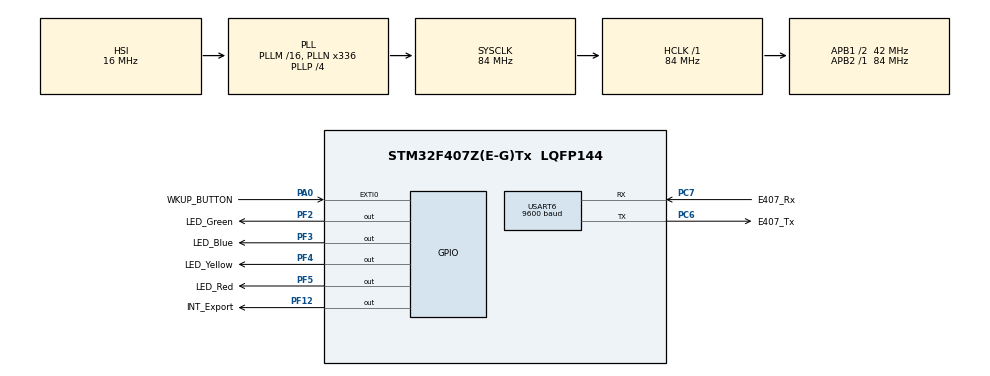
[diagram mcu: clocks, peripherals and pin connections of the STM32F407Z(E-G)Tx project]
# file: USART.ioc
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Mcu.Family=STM32F4
Mcu.Name=STM32F407Z(E-G)Tx
Mcu.Package=LQFP144
NVIC.EXTI0_IRQn=true\:1\:0\:true\:false\:true\:true
NVIC.PriorityGroup=NVIC_PRIORITYGROUP_4
NVIC.USART6_IRQn=true\:0\:0\:false\:false\:true\:true
PA0-WKUP.GPIO_Label=WKUP_BUTTON
PA0-WKUP.GPIO_PuPd=GPIO_PULLDOWN
PA0-WKUP.Signal=GPXTI0
PC6.GPIO_Label=E407_Tx
PC6.Mode=Asynchronous
PC6.Signal=USART6_TX
PC7.GPIO_Label=E407_Rx
PC7.Mode=Asynchronous
PC7.Signal=USART6_RX
PF12.GPIO_Label=INT_Export
PF12.GPIO_PuPd=GPIO_PULLDOWN
PF12.Signal=GPIO_Output
PF2.GPIO_Label=LED_Green
PF2.GPIO_PuPd=GPIO_PULLDOWN
PF2.Signal=GPIO_Output
PF3.GPIO_Label=LED_Blue
PF3.GPIO_PuPd=GPIO_PULLDOWN
PF3.Signal=GPIO_Output
PF4.GPIO_Label=LED_Yellow
PF4.GPIO_PuPd=GPIO_PULLDOWN
PF4.Signal=GPIO_Output
PF5.GPIO_Label=LED_Red
PF5.GPIO_PuPd=GPIO_PULLDOWN
PF5.Signal=GPIO_Output
ProjectManager.HeapSize=0x200
ProjectManager.StackSize=0x400
ProjectManager.TargetToolchain=Makefile
RCC.48MHZClocksFreq_Value=84000000
RCC.AHBFreq_Value=84000000
RCC.APB1CLKDivider=RCC_HCLK_DIV2
RCC.APB1Freq_Value=42000000
RCC.APB1TimFreq_Value=84000000
RCC.APB2Freq_Value=84000000
RCC.APB2TimFreq_Value=84000000
RCC.CortexFreq_Value=84000000
RCC.HCLKFreq_Value=84000000
RCC.HSE_VALUE=25000000
RCC.HSI_VALUE=16000000
RCC.LSE_VALUE=32768
RCC.PLLN=336
RCC.PLLP=RCC_PLLP_DIV4
RCC.SYSCLKFreq_VALUE=84000000
RCC.SYSCLKSource=RCC_SYSCLKSOURCE_PLLCLK
RCC.VCOOutputFreq_Value=336000000
USART6.BaudRate=9600
USART6.VirtualMode=VM_ASYNC
board=USART

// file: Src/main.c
/**
  ******************************************************************************
  * File Name          : main.c
  * Description        : Main program body
  ******************************************************************************
  ** This notice applies to any and all portions of this file
  * that are not between comment pairs USER CODE BEGIN and
  * USER CODE END. Other portions of this file, whether
  * inserted by the user or by software development tools
  * are owned by their respective copyright owners.
  *
  * COPYRIGHT(c) 2017 STMicroelectronics
  *
  * Redistribution and use in source and binary forms, with or without modification,
  * are permitted provided that the following conditions are met:
  *   1. Redistributions of source code must retain the above copyright notice,
  *      this list of conditions and the following disclaimer.
  *   2. Redistributions in binary form must reproduce the above copyright notice,
  *      this list of conditions and the following disclaimer in the documentation
  *      and/or other materials provided with the distribution.
  *   3. Neither the name of STMicroelectronics nor the names of its contributors
  *      may be used to endorse or promote products derived from this software
  *      without specific prior written permission.
  *
  * THIS SOFTWARE IS PROVIDED BY THE COPYRIGHT HOLDERS AND CONTRIBUTORS "AS IS"
  * AND ANY EXPRESS OR IMPLIED WARRANTIES, INCLUDING, BUT NOT LIMITED TO, THE
  * IMPLIED WARRANTIES OF MERCHANTABILITY AND FITNESS FOR A PARTICULAR PURPOSE ARE
  * DISCLAIMED. IN NO EVENT SHALL THE COPYRIGHT HOLDER OR CONTRIBUTORS BE LIABLE
  * FOR ANY DIRECT, INDIRECT, INCIDENTAL, SPECIAL, EXEMPLARY, OR CONSEQUENTIAL
  * DAMAGES (INCLUDING, BUT NOT LIMITED TO, PROCUREMENT OF SUBSTITUTE GOODS OR
  * SERVICES; LOSS OF USE, DATA, OR PROFITS; OR BUSINESS INTERRUPTION) HOWEVER
  * CAUSED AND ON ANY THEORY OF LIABILITY, WHETHER IN CONTRACT, STRICT LIABILITY,
  * OR TORT (INCLUDING NEGLIGENCE OR OTHERWISE) ARISING IN ANY WAY OUT OF THE USE
  * OF THIS SOFTWARE, EVEN IF ADVISED OF THE POSSIBILITY OF SUCH DAMAGE.
  *
  ******************************************************************************
  */

#include "main.h"
#include "stm32f4xx_hal.h"

UART_HandleTypeDef huart6;

/* USER CODE BEGIN PV */
/* Private variables ---------------------------------------------------------*/
__IO uint32_t Interrupt_Variable = 0;
__IO ITStatus UartReady = RESET;

/* Buffer used for transmission */
/* uint8_t aTxBuffer[] = " ****UART_TwoBoards communication based on DMA****  ****UART_TwoBoards communication based on DMA****  ****UART_TwoBoards communication based on DMA**** "; */

uint8_t aTxBuffer[] = "R";
/* Buffer used for reception */
uint8_t aRxBuffer[RXBUFFERSIZE];
/* USER CODE END PV */

void SystemClock_Config(void);
static void MX_GPIO_Init(void);
static void MX_USART6_UART_Init(void);

/* USER CODE BEGIN PFP */
/* Private function prototypes -----------------------------------------------*/
/* static uint16_t Buffercmp(uint8_t* pBuffer1, uint8_t* pBuffer2, uint16_t BufferLength); */
/* USER CODE END PFP */

int main(void)
{

  /* MCU Configuration----------------------------------------------------------*/

  /* Reset of all peripherals, Initializes the Flash interface and the Systick. */
  HAL_Init();

  /* Configure the system clock */
  SystemClock_Config();

  /* Initialize all configured peripherals */
  MX_GPIO_Init();
  MX_USART6_UART_Init();

  /* USER CODE BEGIN 2 */
/* #ifdef TRANSMITTER_BOARD */

  while (HAL_GPIO_ReadPin(WKUP_BUTTON_GPIO_Port, WKUP_BUTTON_Pin) == GPIO_PIN_RESET)
    {
      HAL_GPIO_TogglePin(LED_Blue_GPIO_Port, LED_Blue_Pin);
      HAL_Delay(250);
    }
  /* Wait for the button to be pressed that is for interrupt */
  while (Interrupt_Variable == 0)
    {
    }
  /* Turn off LED_Blue */
  HAL_GPIO_WritePin(LED_Blue_GPIO_Port, LED_Blue_Pin, GPIO_PIN_RESET);

  /* The board sends the message now */
  if(HAL_UART_Transmit_DMA(&huart6, (uint8_t*)aTxBuffer, TXBUFFERSIZE) != HAL_OK)
    {
      _Error_Handler(__FILE__,__LINE__);
    }

  /* Wait for the end of the transfer */
  while (UartReady != SET)
    {
    }

  /* Reset transmission flag */
  UartReady = RESET;

/* #endif */ // TRANSMITTER_BOARD

  /* USER CODE END 2 */

  /* Infinite loop */
  while (1)
  {

  }

}

/** System Clock Configuration
*/
void SystemClock_Config(void)
{

  RCC_OscInitTypeDef RCC_OscInitStruct;
  RCC_ClkInitTypeDef RCC_ClkInitStruct;

    /**Configure the main internal regulator output voltage
    */
  __HAL_RCC_PWR_CLK_ENABLE();

  __HAL_PWR_VOLTAGESCALING_CONFIG(PWR_REGULATOR_VOLTAGE_SCALE1);

    /**Initializes the CPU, AHB and APB busses clocks
    */
  RCC_OscInitStruct.OscillatorType = RCC_OSCILLATORTYPE_HSI;
  RCC_OscInitStruct.HSIState = RCC_HSI_ON;
  RCC_OscInitStruct.HSICalibrationValue = 16;
  RCC_OscInitStruct.PLL.PLLState = RCC_PLL_ON;
  RCC_OscInitStruct.PLL.PLLSource = RCC_PLLSOURCE_HSI;
  RCC_OscInitStruct.PLL.PLLM = 16;
  RCC_OscInitStruct.PLL.PLLN = 336;
  RCC_OscInitStruct.PLL.PLLP = RCC_PLLP_DIV4;
  RCC_OscInitStruct.PLL.PLLQ = 4;
  if (HAL_RCC_OscConfig(&RCC_OscInitStruct) != HAL_OK)
  {
    _Error_Handler(__FILE__, __LINE__);
  }

    /**Initializes the CPU, AHB and APB busses clocks
    */
  RCC_ClkInitStruct.ClockType = RCC_CLOCKTYPE_HCLK|RCC_CLOCKTYPE_SYSCLK
                              |RCC_CLOCKTYPE_PCLK1|RCC_CLOCKTYPE_PCLK2;
  RCC_ClkInitStruct.SYSCLKSource = RCC_SYSCLKSOURCE_PLLCLK;
  RCC_ClkInitStruct.AHBCLKDivider = RCC_SYSCLK_DIV1;
  RCC_ClkInitStruct.APB1CLKDivider = RCC_HCLK_DIV2;
  RCC_ClkInitStruct.APB2CLKDivider = RCC_HCLK_DIV1;

  if (HAL_RCC_ClockConfig(&RCC_ClkInitStruct, FLASH_LATENCY_2) != HAL_OK)
  {
    _Error_Handler(__FILE__, __LINE__);
  }

    /**Configure the Systick interrupt time
    */
  HAL_SYSTICK_Config(HAL_RCC_GetHCLKFreq()/1000);

    /**Configure the Systick
    */
  HAL_SYSTICK_CLKSourceConfig(SYSTICK_CLKSOURCE_HCLK);

  /* SysTick_IRQn interrupt configuration */
  HAL_NVIC_SetPriority(SysTick_IRQn, 0, 0);
}

/* USART6 init function */
static void MX_USART6_UART_Init(void)
{

  huart6.Instance = USART6;
  huart6.Init.BaudRate = 9600;
  huart6.Init.WordLength = UART_WORDLENGTH_8B;
  huart6.Init.StopBits = UART_STOPBITS_1;
  huart6.Init.Parity = UART_PARITY_NONE;
  huart6.Init.Mode = UART_MODE_TX_RX;
  huart6.Init.HwFlowCtl = UART_HWCONTROL_NONE;
  huart6.Init.OverSampling = UART_OVERSAMPLING_16;
  if (HAL_UART_Init(&huart6) != HAL_OK)
  {
    _Error_Handler(__FILE__, __LINE__);
  }

}

/** Configure pins as
        * Analog
        * Input
        * Output
        * EVENT_OUT
        * EXTI
*/
static void MX_GPIO_Init(void)
{

  GPIO_InitTypeDef GPIO_InitStruct;

  /* GPIO Ports Clock Enable */
  __HAL_RCC_GPIOF_CLK_ENABLE();
  __HAL_RCC_GPIOA_CLK_ENABLE();
  __HAL_RCC_GPIOC_CLK_ENABLE();

  /*Configure GPIO pin Output Level */
  HAL_GPIO_WritePin(GPIOF, LED_Green_Pin|LED_Blue_Pin|LED_Yellow_Pin|LED_Red_Pin
                          |INT_Export_Pin, GPIO_PIN_RESET);

  /*Configure GPIO pins : LED_Green_Pin LED_Blue_Pin LED_Yellow_Pin LED_Red_Pin
                           INT_Export_Pin */
  GPIO_InitStruct.Pin = LED_Green_Pin|LED_Blue_Pin|LED_Yellow_Pin|LED_Red_Pin
                          |INT_Export_Pin;
  GPIO_InitStruct.Mode = GPIO_MODE_OUTPUT_PP;
  GPIO_InitStruct.Pull = GPIO_PULLDOWN;
  GPIO_InitStruct.Speed = GPIO_SPEED_FREQ_LOW;
  HAL_GPIO_Init(GPIOF, &GPIO_InitStruct);

  /*Configure GPIO pin : WKUP_BUTTON_Pin */
  GPIO_InitStruct.Pin = WKUP_BUTTON_Pin;
  GPIO_InitStruct.Mode = GPIO_MODE_IT_RISING;
  GPIO_InitStruct.Pull = GPIO_PULLDOWN;
  HAL_GPIO_Init(WKUP_BUTTON_GPIO_Port, &GPIO_InitStruct);

  /* EXTI interrupt init*/
  HAL_NVIC_SetPriority(EXTI0_IRQn, 0, 0);
  HAL_NVIC_EnableIRQ(EXTI0_IRQn);

}

/* USER CODE BEGIN 4 */
/* Tx transfer completed callback */
void HAL_UART_TxCpltCallback(UART_HandleTypeDef *huart6)
{
  UartReady = SET;
  HAL_GPIO_WritePin(LED_Green_GPIO_Port, LED_Green_Pin, GPIO_PIN_SET);
}

/* UART error callbacks */
void HAL_UART_ErrorCallback(UART_HandleTypeDef *huart6)
{
  HAL_GPIO_WritePin(LED_Red_GPIO_Port, LED_Red_Pin, GPIO_PIN_SET);
}
/* USER CODE END 4 */

void _Error_Handler(char * file, int line)
{
  /* USER CODE BEGIN Error_Handler_Debug */
  HAL_GPIO_WritePin(LED_Yellow_GPIO_Port, LED_Yellow_Pin, GPIO_PIN_SET);
  /* User can add his own implementation to report the HAL error return state */
  while(1)
  {
  }
  /* USER CODE END Error_Handler_Debug */
}

/************************ (C) COPYRIGHT STMicroelectronics *****END OF FILE****/
